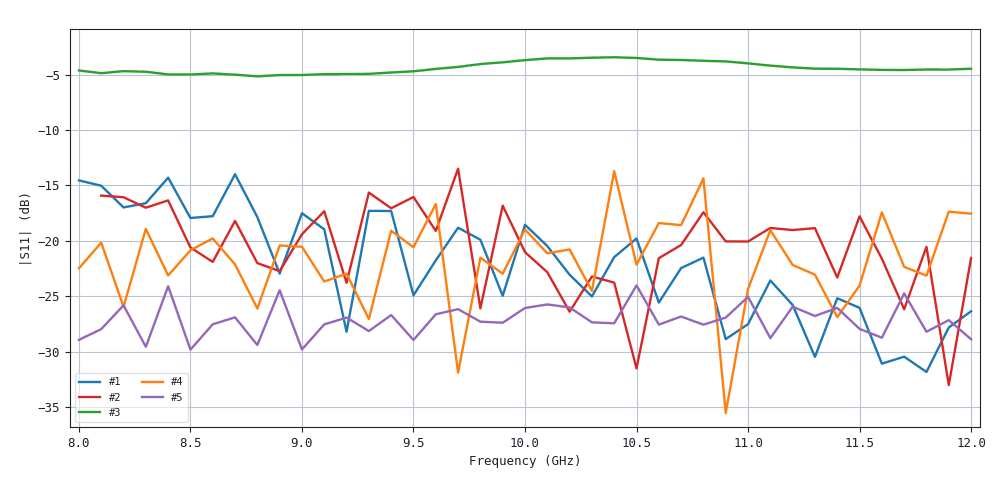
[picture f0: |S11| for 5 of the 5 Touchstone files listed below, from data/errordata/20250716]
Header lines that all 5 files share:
!  1-Port S-parameters saved by WinCal
! VAR NAME=2-Port SOLT labuser 6
# Hz S RI R 50
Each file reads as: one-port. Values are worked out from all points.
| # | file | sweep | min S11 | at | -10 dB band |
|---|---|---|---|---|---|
| 1 | ErrorTerm_11_ESrm.s1p | 8 GHz to 12 GHz | -31.8 dB | 11.8 GHz | over 4 GHz wide |
| 2 | ErrorTerm_12_ELdm.s1p | 8.1 GHz to 12 GHz | -33.0 dB | 11.9 GHz | over 3.9 GHz wide |
| 3 | ErrorTerm_12_ETrt.s1p | 8 GHz to 12 GHz | -5.1 dB | 8.8 GHz | - |
| 4 | ErrorTerm_21_ELdm.s1p | 8 GHz to 12 GHz | -35.6 dB | 10.9 GHz | over 4 GHz wide |
| 5 | ErrorTerm_21_ETrt.s1p | 8 GHz to 12 GHz | -29.8 dB | 8.5 GHz | over 4 GHz wide |
